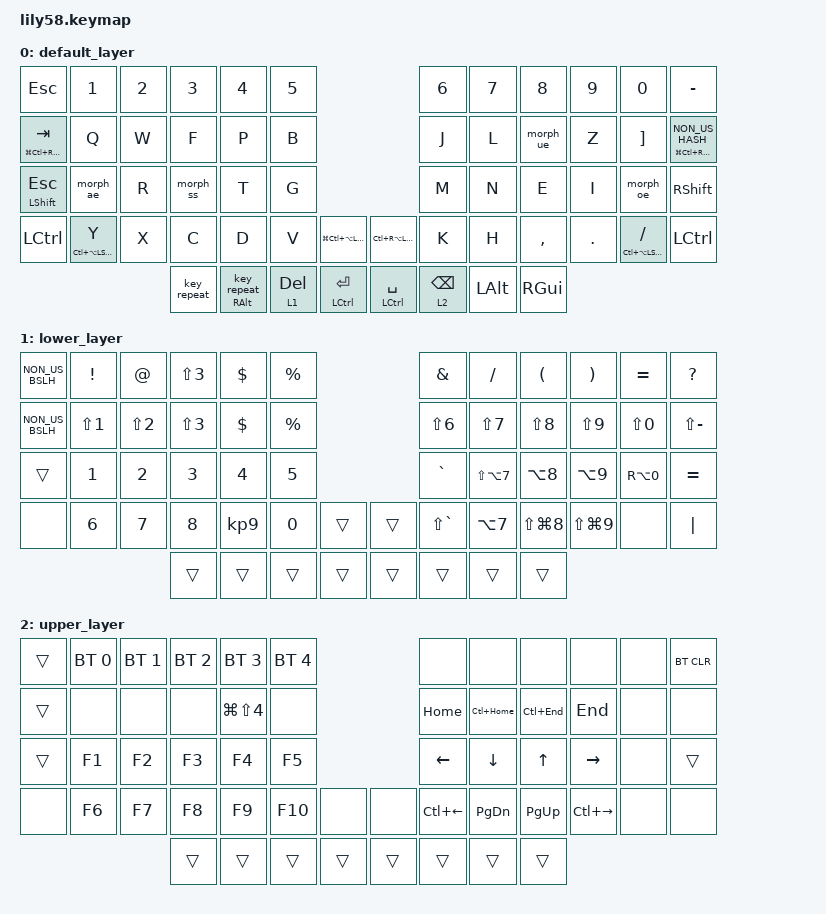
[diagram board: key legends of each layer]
/*
 * Copyright (c) 2020 The ZMK Contributors
 *
 * SPDX-License-Identifier: MIT
 * https://colemakmods.github.io/mod-dh/keyboards.html
 */

#include <behaviors.dtsi>
#include <dt-bindings/zmk/bt.h>
#include <dt-bindings/zmk/keys.h>
#include <dt-bindings/zmk/keys.h>

// #include <dt-bindings/zmk/ext_power.h>
// https://joshinator.de/posts/zmk-combo-helper/

#define COMBO(NAME, BINDINGS, KEYPOS) \
  combo_##NAME { \
    timeout-ms = <750>; \
    bindings = <BINDINGS>; \
    key-positions = <KEYPOS>; \
    layers = <0>; \
  };

#define DEFAULT 0
#define LOWER 1
#define UPPER 2

&mt { tapping-term-ms = <125>; };
&lt { quick-tap-ms = <200>; };

/ {

    combos {
        compatible = "zmk,combos";

        COMBO(lgui-enter, &kp LG(RET), 24 53 54) // shift enter + space
        // COMBO(hyper-hash, &kp LG(LC(LA(LS(NON_US_HASH)))), 12 52 23) // shift enter + space
        // COMBO(hyper-rshift, &kp LG(LC(LA(LS(RIGHT_SHIFT)))), 12 52 35) // shift enter + space
        // COMBO(ctrl-enter-repeat, &key_repeat, 36 53)

        // COMBO(ae, &kp SQT, 25 51)
        // COMBO(ae-ss, &kp SQT &kp MINUS, 25 27 51) // combo wrong technique maybe custom behaviour
    };

  // macros {
  //   repeat_macro: repeat_macro {
  //     compatible = "zmk,behavior-macro";
  //     label = "REPEAT_MACRO";
  //     #binding-cells = <0>;
  //     bindings = <&key_repeat>;
  //   };
  // };

  behaviors {

    // &key_repeat   &mt LALT DEL &tp_repeat_mo 1 0  &tp LGUI ENTER    &kp SPC            &lt 2 BSPC  &kp LALT   &kp RGUI

    // tp_repeat_mo: tp_repeat_mo {
    //   compatible = "zmk,behavior-hold-tap";
    //   label = "tp_repeat_mo";
    //   #binding-cells = <2>; // for repeat mit layer 2 schreiben
    //   tapping-term-ms = <150>;
    //   quick-tap-ms = <0>;
    //   flavor = "tap-preferred";
    //   bindings = <&mo>, <&key_repeat>;
    // };

    tp_rep: tp_rep {
      compatible = "zmk,behavior-hold-tap";
      label = "tp_rep";
      #binding-cells = <2>; // for repeat mit layer 2 schreiben
      tapping-term-ms = <150>;
      quick-tap-ms = <0>;
      flavor = "tap-preferred";
      bindings = <&kp>, <&key_repeat>;
    };
    morph_ae: morph_ae {
      compatible = "zmk,behavior-mod-morph";
      #binding-cells = <0>;
      bindings = <&kp A>, <&kp SQT>;

      // mods = <(MOD_LALT|MOD_RALT)>;
      mods = <(MOD_RALT)>;
    };

    morph_oe: morph_oe {
      compatible = "zmk,behavior-mod-morph";
      #binding-cells = <0>;
      bindings = <&kp O>, <&kp SEMICOLON>;

      mods = <(MOD_RALT)>;
    };

    morph_ue: morph_ue {
      compatible = "zmk,behavior-mod-morph";
      #binding-cells = <0>;
      bindings = <&kp U>, <&kp LEFT_BRACKET>;

      mods = <(MOD_RALT)>;
    };

    morph_ss: morph_ss {
      compatible = "zmk,behavior-mod-morph";
      #binding-cells = <0>;
      bindings = <&kp S>, <&kp MINUS>;

      mods = <(MOD_RALT)>;
    };

    // morph_hyper_hash: morph_hyper_hash {
    //   compatible = "zmk,behavior-mod-morph";
    //   #binding-cells = <0>;
    //   bindings = <&kp A>, <&kp SQT>;
    //
    //   mods = <(MOD_LALT|MOD_RALT)>;
    // };
    // morph_bspc: morph_bspc {
    //   compatible = "zmk,behavior-mod-morph";
    //   #binding-cells = <0>;
    //   bindings = <&kp BSPC>, <&kp DEL>;
    //
    //   mods = <(MOD_LSFT)>;
    // };
          tp: tap_preferred {
            compatible = "zmk,behavior-hold-tap";
            label = "TAP_PREFERRED";
            #binding-cells = <2>;
            tapping-term-ms = <175>;
            quick-tap-ms = <150>;
            flavor = "tap-preferred";
            bindings = <&kp>, <&kp>;
          }; 
          ts: tap_slow {
            compatible = "zmk,behavior-hold-tap";
            label = "TAP_SLOW";
            #binding-cells = <2>;
            tapping-term-ms = <250>;
            quick-tap-ms = <200>;
            flavor = "tap-preferred";
            bindings = <&kp>, <&kp>;
          }; 
          // &lt 2 BSPC
          // &tap_hold_backspace
        //   tap_hold_backspace: behavior_tap_dance {
        //     compatible = "zmk,behavior-tap-dance";
        //     #binding-cells = <2>;
        //
        //     bindings = <&kp BSPC>, <&hold_layer 2>;
        //     tapping-term-ms = <300>; // Zeit für doppeltes Tippen
        //     dance-press-bindings = <&kp BSPC>;  // Normales Tippen = Backspace
        //     dance-hold-bindings = <&hold_layer 2>;  // Halten nach einem Tap = Layer 2 aktivieren
        //     dance-double-tap-bindings = <&kp BSPC>;  // Doppel-Tap = Backspace erneut senden
        //     dance-double-hold-bindings = <&kp BSPC>;  // Doppel-Tap + Halten = Backspace wiederholen
        // };
  };


  

    keymap {
        compatible = "zmk,keymap";

        default_layer {
            // ------------------------------------------------------------------------------------------------------------
            // |  ESC  |  1  |  2  |  3   |  4   |  5   |                   |  6   |  7    |  8    |  9   |   0   |   +    |
            // |  TAB  |  Q  |  W  |  F   |  R   |  B   |                   |  J   |  U    |  U    |  Y   |      |   #   |
            // | SHIFT |  A  |  R  |  S   |  T   |  G   |                   |  M   |  N    |  E    |  I   |   O   | SHIFT |
            // | CTRL  |  Z  |  X  |  C   |  D   |  V   | "hyper"|  | "meh" |  K   |  H    |  ,    |  .   |   -   |  |
            //                     | ALT  | REP  | LOWER|  ENTER |  | SPACE | RAISE| BSPC  | GUI   |


            bindings = <
&kp ESCAPE                        &kp N1     &kp N2         &kp N3               &kp N4               &kp N5                                                                  &kp N6       &kp N7     &kp N8     &kp N9   &kp N0                            &kp MINUS
&tp LG(LC(RA(LEFT_SHIFT))) TAB    &kp Q      &kp W          &kp F                &kp P                &kp B                                                                   &kp J        &kp L      &morph_ue  &kp Z    &kp RIGHT_BRACKET                 &tp LG(LC(RA(LEFT_SHIFT))) NON_US_HASH
&mt LEFT_SHIFT ESCAPE             &morph_ae  &kp R          &morph_ss            &kp T                &kp G                                                                   &kp M        &kp N      &kp E      &kp I    &morph_oe                         &kp RIGHT_SHIFT
&kp LEFT_CONTROL                  &ts LC(LA(LEFT_SHIFT)) Y      &kp X          &kp C                &kp D                &kp V       &kp LG(LC(LA(LEFT_SHIFT)))          &kp LC(RA(LEFT_SHIFT))  &kp K        &kp H      &kp COMMA  &kp DOT  &ts LC(LA(LEFT_SHIFT)) SLASH      &kp LEFT_CONTROL
                                                            &key_repeat          &tp_rep RALT 0       &lt 1 DEL   &tp LEFT_CONTROL ENTER                      &tp LEFT_CONTROL SPC            &lt 2 BSPC   &kp LALT   &kp RGUI
            >;
        };

        lower_layer {
            // ------------------------------------------------------------------------------------------------------------
            // | BTCLR | BT1 | BT2 |  BT3 |  BT4 |  BT5 |                   |      |       |       |      |       |       |
            // |  F1   |  F2 |  F3 |  F4  |  F5  |  F6  |                   |  F7  |  F8   |  F9   |  F10 |  F11  |  F12  |
            // |   `   |  !  |  @  |  #   |  $   |  %   |                   |  ^   |  &    |  *    |  (   |   )   |   ~   |
            // |       |     |     |      |      |      |        |  |       |      |  _    |  +    |  {   |   }   |  "|"  |
            //                     |      |      |      |        |  |       |      |       |       |

            bindings = <
&kp NON_US_BSLH  &kp EXCLAMATION   &kp AT_SIGN       &kp LS(NUMBER_3)  &kp DOLLAR        &kp PERCENT                    &kp AMPERSAND   &kp SLASH       &kp LEFT_PARENTHESIS  &kp RIGHT_PARENTHESIS  &kp EQUAL   &kp QUESTION
&kp NON_US_BSLH  &kp LS(NUMBER_1)  &kp LS(NUMBER_2)  &kp LS(NUMBER_3)  &kp DOLLAR        &kp PERCENT                    &kp LS(N6)      &kp LS(N7)      &kp LS(N8)            &kp LS(N9)             &kp LS(N0)  &kp LS(MINUS)
&trans           &kp N1            &kp NUMBER_2      &kp N3            &kp N4            &kp N5                         &kp GRAVE       &kp LS(LA(N7))  &kp LA(N8)            &kp LA(N9)             &kp RA(N0)  &kp EQUAL
&none            &kp NUMBER_6      &kp N7            &kp N8            &kp KP_NUMBER_9   &kp N0       &trans    &trans  &kp LS(GRAVE)   &kp LA(N7)      &kp LS(LG(N8))        &kp LS(LG(N9))         &none       &kp PIPE
                                                     &trans            &trans            &trans       &trans    &trans  &trans          &trans          &trans

            >;
        };

        upper_layer {
            // ------------------------------------------------------------------------------------------------------------
            // |       |     |     |      |      |      |                   |      |       |       |      |       |       |
            // |   `   |  1  |  2  |  3   |  4   |  5   |                   |  6   |   7   |   8   |  9   |   0   |       |
            // |   F1  |  F2 |  F3 |  F4  |  F5  |  F6  |                   |      |   <-  |   v   |  ^   |  ->   |       |
            // |   F7  |  F8 |  F9 |  F10 |  F11 |  F12 |        |  |       |  +   |   -   |   =   |  [   |   ]   |   \   |
            //                     |      |      |      |        |  |       |      |       |       |

            bindings = <
&trans        &bt BT_SEL 0  &bt BT_SEL 1  &bt BT_SEL 2     &bt BT_SEL 3         &bt BT_SEL 4                           &none                 &none           &none             &none                 &none         &bt BT_CLR
&trans        &none         &none         &none            &kp LG(LS(N4))       &none                                  &kp HOME              &kp LC(HOME)    &kp LC(END)       &kp END               &none         &none
&trans        &kp F1        &kp F2        &kp F3           &kp F4               &kp F5                                 &kp LEFT_ARROW        &kp DOWN_ARROW  &kp UP_ARROW      &kp RIGHT_ARROW       &none         &trans
&none         &kp F6        &kp F7        &kp F8           &kp F9               &kp F10       &none          &none     &kp LC(LEFT_ARROW)    &kp PAGE_DOWN   &kp PAGE_UP       &kp LC(RIGHT_ARROW)   &none         &none    
                                          &trans        &trans            &trans     &trans                  &trans    &trans                &trans          &trans

            >;
        };
    };
};
